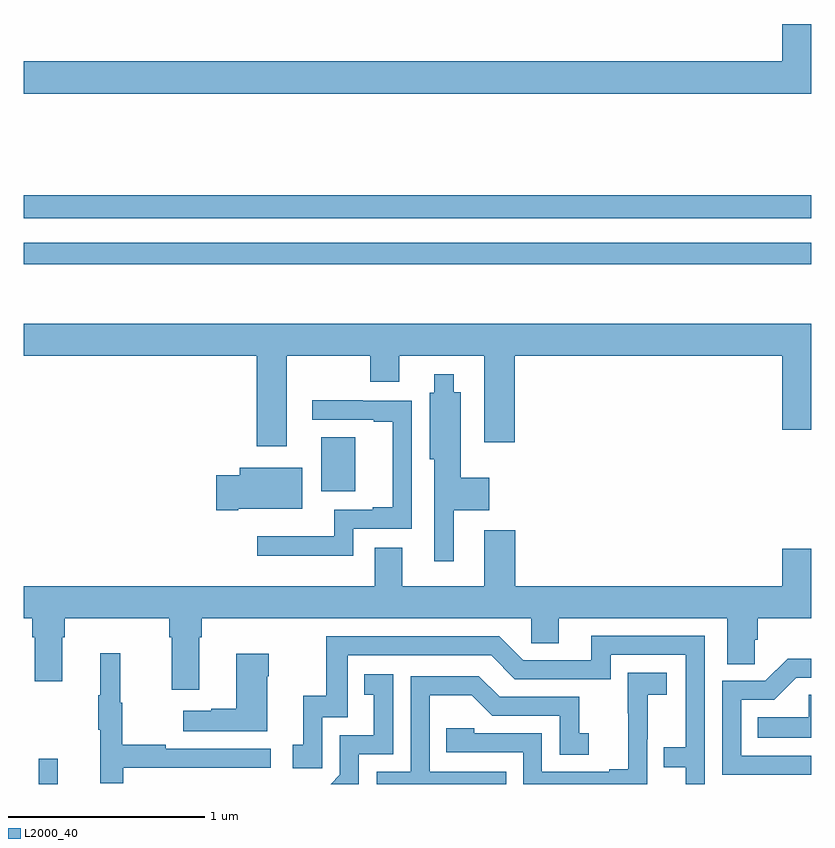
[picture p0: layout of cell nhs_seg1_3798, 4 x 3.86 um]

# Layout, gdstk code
import gdstk
lib = gdstk.Library(unit=1e-6, precision=1e-09)
def R(c, l, rs):  # rectangles x0, y0, x1, y1
    for r in rs: c.add(gdstk.rectangle(r[:2], r[2:], *l))
def P(c, l, *ps):  # polygons
    for p in ps: c.add(gdstk.Polygon(p, *l))
L2000_40 = (2000, 40)

nhs_seg1_3798 = lib.new_cell('nhs_seg1_3798')
R(nhs_seg1_3798, L2000_40, [(317.078,576.199,317.175,576.328), (318.512,577.685,318.685,577.96), (317,578.838,321,578.946), (317,579.072,321,579.188)])
P(nhs_seg1_3798, L2000_40, [(321,580.057),(320.852,580.057),(320.852,579.868),(317,579.868),(317,579.704),(321,579.704)],
  [(318.337,578.372),(318.76,578.372),(318.76,578.241),(318.907,578.241),(318.907,578.372),(319.34,578.372),(319.34,577.935),(319.493,577.935),(319.493,578.372),(320.852,578.372),(320.852,577.998),(321,577.998),(321,578.536),(317,578.536),(317,578.372),(318.185,578.372),(318.185,577.914),(318.337,577.914)],
  [(319.183,577.589),(319.363,577.589),(319.363,577.753),(319.219,577.753),(319.219,578.188),(319.183,578.188),(319.183,578.278),(319.085,578.278),(319.085,578.184),(319.061,578.184),(319.061,577.848),(319.086,577.848),(319.086,577.329),(319.183,577.329)],
  [(318.675,577.494),(318.972,577.494),(318.972,578.145),(318.723,578.145),(318.723,578.148),(318.465,578.148),(318.465,578.049),(318.779,578.049),(318.779,578.037),(318.875,578.037),(318.875,577.603),(318.772,577.603),(318.772,577.59),(318.578,577.59),(318.578,577.456),(318.186,577.456),(318.186,577.358),(318.675,577.358)],
  [(318.091,577.595),(318.415,577.595),(318.415,577.804),(318.098,577.804),(318.098,577.766),(317.979,577.766),(317.979,577.588),(318.091,577.588)],
  [(317.893,576.944),(317.906,576.944),(317.906,577.04),(319.578,577.04),(319.578,576.913),(319.717,576.913),(319.717,577.04),(320.573,577.04),(320.573,576.808),(320.712,576.808),(320.712,576.931),(320.726,576.931),(320.726,577.04),(321,577.04),(321,577.393),(320.852,577.393),(320.852,577.204),(319.496,577.204),(319.496,577.486),(319.34,577.486),(319.34,577.204),(318.922,577.204),(318.922,577.399),(318.782,577.399),(318.782,577.204),(317,577.204),(317,577.04),(317.045,577.04),(317.045,576.944),(317.057,576.944),(317.057,576.72),(317.197,576.72),(317.197,576.944),(317.21,576.944),(317.21,577.04),(317.741,577.04),(317.741,576.944),(317.753,576.944),(317.753,576.678),(317.893,576.678)],
  [(320.457,576.951),(319.883,576.951),(319.883,576.828),(319.536,576.828),(319.416,576.948),(318.537,576.948),(318.537,576.646),(318.419,576.646),(318.419,576.399),(318.366,576.399),(318.366,576.279),(318.516,576.279),(318.516,576.537),(318.645,576.537),(318.645,576.852),(319.374,576.852),(319.494,576.732),(319.98,576.732),(319.98,576.855),(320.361,576.855),(320.361,576.386),(320.251,576.386),(320.251,576.285),(320.361,576.285),(320.361,576.199),(320.457,576.199)],
  [(317.507,576.282),(318.256,576.282),(318.256,576.378),(317.723,576.378),(317.723,576.398),(317.5,576.398),(317.5,576.612),(317.492,576.612),(317.492,576.862),(317.39,576.862),(317.39,576.649),(317.379,576.649),(317.379,576.475),(317.39,576.475),(317.39,576.204),(317.507,576.204)],
  [(318.238,576.746),(318.246,576.746),(318.246,576.859),(318.08,576.859),(318.08,576.581),(317.954,576.581),(317.954,576.571),(317.811,576.571),(317.811,576.467),(318.238,576.467)],
  [(321,576.342),(320.643,576.342),(320.643,576.627),(320.812,576.627),(320.923,576.738),(321,576.738),(321,576.836),(320.879,576.836),(320.766,576.723),(320.547,576.723),(320.547,576.246),(321,576.246)],
  [(320.166,576.425),(320.168,576.425),(320.168,576.653),(320.266,576.653),(320.266,576.763),(320.068,576.763),(320.068,576.557),(320.069,576.557),(320.069,576.274),(319.973,576.274),(319.973,576.261),(319.632,576.261),(319.632,576.456),(319.287,576.456),(319.287,576.483),(319.147,576.483),(319.147,576.36),(319.536,576.36),(319.536,576.199),(320.166,576.199)],
  [(318.702,576.351),(318.876,576.351),(318.876,576.757),(318.73,576.757),(318.73,576.651),(318.779,576.651),(318.779,576.447),(318.606,576.447),(318.606,576.246),(318.559,576.199),(318.702,576.199)],
  [(319.451,576.261),(319.062,576.261),(319.062,576.65),(319.276,576.65),(319.38,576.546),(319.722,576.546),(319.722,576.348),(319.87,576.348),(319.87,576.457),(319.821,576.457),(319.821,576.642),(319.417,576.642),(319.312,576.747),(318.966,576.747),(318.966,576.261),(318.792,576.261),(318.792,576.199),(319.451,576.199)],
  [(321,576.653),(320.985,576.653),(320.985,576.538),(320.728,576.538),(320.728,576.434),(321,576.434)])

lib.write_gds('nhs_seg1_3798.gds')
